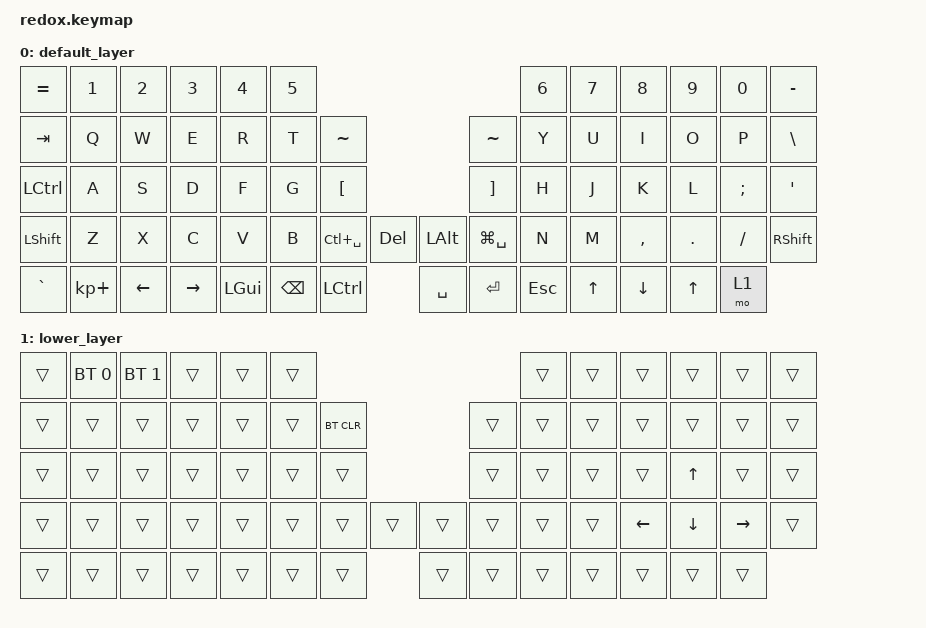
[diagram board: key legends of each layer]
/*
 * Copyright (c) 2021 The ZMK Contributors
 *
 * SPDX-License-Identifier: MIT
 */

#include <behaviors.dtsi>
#include <dt-bindings/zmk/keys.h>
#include <dt-bindings/zmk/bt.h>
#include <dt-bindings/zmk/ext_power.h>
#include <dt-bindings/zmk/outputs.h>

/ {
    keymap {
        compatible =  "zmk,keymap" ;

        default_layer {
// -------------------0--------------------------------------------------------------------------------------------------------------
// |  =    |  1  |  2    |   3   |  4  |  5  |                    ---                     |  6    |  7    |  8    |  9   | 0  |   -  |
// | TAB   |  Q  |  W    |   E   |  R  |  T  |   ~   |            ---         |  ~        |  Y    |  U    |  I    |  O   | P  |   \  |
// | CTRL  |  A  |  S    |   D   |  F  |  G  |   [   |            ---         |  ]        |  H    |  J    |  K    |  L   | ;  |  '   |
// | SHIFT |  Z  |  X    |   C   |  V  |  B  | CTRL_SPACE | DEL | --- | ALT   | GUI_SPACE |  N    |  M    |  ,    |  .   | /  | SHFT |
// | `     |  +  | LEFT | RIGHT |    GUI     | BKSP  | CTRL     | --- | SPACE | RET   |   ESC     | UP    | DOWN  | UP   |   LOWER   |
            bindings = <
   &kp EQUAL &kp N1      &kp N2   &kp N3 &kp N4   &kp N5                                                 &kp N6    &kp N7 &kp N8    &kp N9   &kp N0   &kp MINUS
   &kp TAB   &kp Q       &kp W    &kp E  &kp R    &kp T  &kp TILDE                         &kp TILDE     &kp Y     &kp U  &kp I     &kp O    &kp P    &kp BSLH
   &kp LCTRL &kp A       &kp S    &kp D  &kp F    &kp G  &kp LBKT                          &kp RBKT      &kp H     &kp J  &kp K     &kp L    &kp SEMI &kp SQT
   &kp LSHFT &kp Z       &kp X    &kp C  &kp V    &kp B  &kp LC(SPACE) &kp DEL   &kp LALT  &kp LG(SPACE) &kp N     &kp M  &kp COMMA &kp DOT  &kp FSLH &kp RSHFT
   &kp GRAVE &kp KP_PLUS &kp LEFT &kp RIGHT  &kp LGUI    &kp BSPC      &kp LCTRL &kp SPACE &kp RET       &kp ESC   &kp UP &kp DOWN  &kp UP   &mo 1 
            >;
        };

        lower_layer {
// -------------------0-------------------------------------------------------------------------------------------------------------------
// | ESC   |  1  |  2    |   3   |  4  |  5  |                    ---                     |  6    |  7    |  8   |  9   | 0     |   -  |
// | TAB   |  Q  |  W    |   E   |  R  |  T  |   ~   |            ---         |  ~        |  Y    |  U    |  I   |  O   | P     |   \  |
// | CTRL  |  A  |  S    |   D   |  F  |  G  |   [   |            ---         |  ]        |  H    |  J    |  K   |  UP  | ;     |  '   |
// | SHIFT |  Z  |  X    |   C   |  V  |  B  | CTRL_SPACE | DEL | --- | ALT   | GUI_SPACE |  N    |  M    | LEFT | DOWN | RIGHT | SHFT |
// | `     |  +  | LEFT | RIGHT |    GUI     | BKSP  | CTRL     | --- | SPACE | RET   |   ESC     | UP    | DOWN | UP   | LOWER |
            bindings = <
   &trans  &bt BT_SEL 0   &bt BT_SEL 1  &trans  &trans  &trans            &trans  &trans  &trans    &trans    &trans     &trans
   &trans  &trans   &trans  &trans  &trans  &trans  &bt BT_CLR                  &trans  &trans  &trans  &trans    &trans    &trans     &trans
   &trans  &trans   &trans  &trans  &trans  &trans  &trans                  &trans  &trans  &trans  &trans    &kp UP    &trans     &trans
   &trans  &trans   &trans  &trans  &trans  &trans  &trans  &trans  &trans  &trans  &trans  &trans  &kp LEFT  &kp DOWN  &kp RIGHT  &trans
   &trans  &trans   &trans  &trans  &trans  &trans  &trans  &trans  &trans  &trans  &trans  &trans  &trans    &trans
            >;
        };
    };
};
